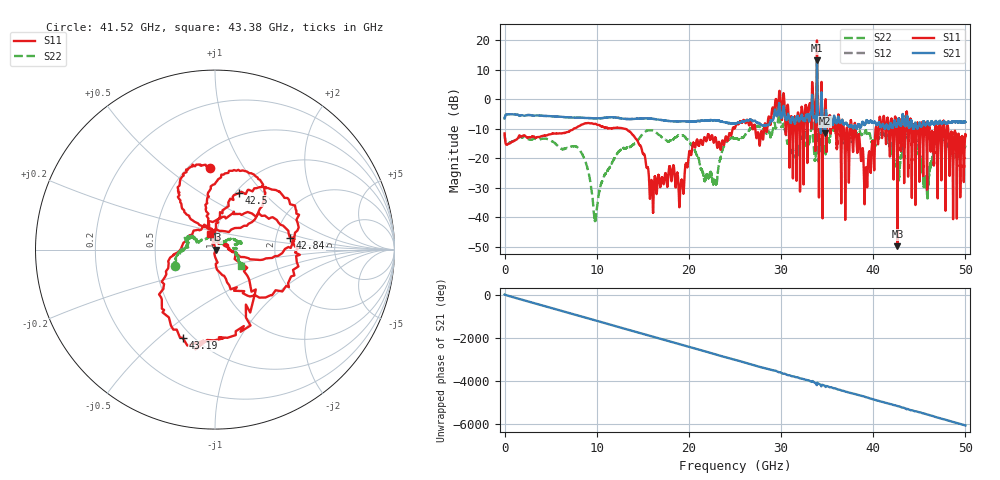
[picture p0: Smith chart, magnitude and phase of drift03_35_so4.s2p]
!Created with skrf (http://scikit-rf.org).
# Hz S RI R 50.0
!freq ReS11 ImS11 ReS21 ImS21 ReS12 ImS12 ReS22 ImS22
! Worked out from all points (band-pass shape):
!   10001 points, 300 kHz to 50 GHz, reference 50 ohm
!   highest |S21| = 13.30 dB at 33.9 GHz (marker M1); lowest = -11.5 dB at 34.79 GHz (marker M2)
!   |S21| within 3 dB of the highest: 33.89018 GHz to 33.90575 GHz (15.57 MHz wide, 0.0459 % of centre)
!   lowest |S11| = -49.8 dB at 42.63 GHz (marker M3), VSWR 1.01, Z = 50.3 - j0.11 ohm
!   |S11| at or under -10 dB: start of sweep to 7.491 GHz; 13.14 GHz to 24.74 GHz (11.6 GHz wide, 61.3 % of centre); 38.09 GHz to 40.25 GHz (2.163 GHz wide, 5.52 % of centre) (the widest 3 of 48)
!   |S22| runs from -41.3 to 5.7 dB; largest |S21 - S12| = 0.36
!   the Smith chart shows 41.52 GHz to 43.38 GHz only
!   S11 on the Smith chart (normalised r, x): 41.52 GHz: 0.63, +0.72; 42.5 GHz: 1.04, +0.74; 42.84 GHz: 2.39, +0.39; 43.19 GHz: 0.44, -0.60; 43.38 GHz: 0.93, +0.17
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300000  -0.2369 -0.1193  0.4667 0.0791  0.4649 0.0796  -0.2346 -0.1231
1.440291e9  0.21 0.0648  -0.5476 -0.0294  -0.548 -0.0293  0.2115 -0.00413
2.915283e9  -0.2121 -0.088  0.5343 0.0518  0.5347 0.0516  -0.2023 0.04
4.415274e9  0.2062 0.1325  -0.5219 -0.0424  -0.5219 -0.0423  0.1983 -0.0871
8.33525e9  0.2887 -0.2333  0.1461 0.4659  0.1463 0.4664  -0.0729 -0.1011
9.845241e9  -0.3639 0.1289  -0.1481 -0.4527  -0.1481 -0.4524  0.00863 0.00249
1.66702e10  0.0266 0.044  -0.378 0.2537  -0.3792 0.2531  -0.1274 -0.2198
2.500015e10  -0.3264 -0.0151  -0.2551 -0.2974  -0.2533 -0.2987  -0.2114 0.0262
2.895513e10  -0.3254 0.431  -0.2891 0.3252  -0.2987 0.29  0.0649 0.2214
3.006512e10  0.4012 0.2658  0.4511 -0.1961  0.4532 -0.1828  0.1754 -0.2974
3.171011e10  -0.0898 0.1831  -0.3637 0.3567  -0.3606 0.353  0.064 0.1583
3.33351e10  0.5965 -0.8133  0.2431 -0.8326  0.2452 -0.8123  -0.186 -0.4148
3.38951e10  -3.069 -9.513  -4.505 1.052  -4.192 1.23  0.6059 1.835
3.478509e10  -0.7067 0.1303  -0.0154 0.2664  -0.0038 0.3258  0.106 -0.1378
4.151505e10  -0.0261 0.454  0.3338 0.1242  0.3399 0.1262  -0.2255 -0.094
4.167005e10  -0.1981 0.3033  0.3142 0.00558  0.3146 0.0122  -0.1964 -0.0104
4.249505e10  0.1356 0.3151  -0.00247 -0.3461  0.00193 -0.3468  -0.0303 0.0696
4.263004e10  0.00304 -0.00109  -0.1678 -0.3415  -0.1631 -0.3451  -0.0225 0.0897
4.284004e10  0.4178 0.0666  -0.2534 -0.3228  -0.2583 -0.3218  0.044 0.0379
4.318504e10  -0.1792 -0.4925  -0.5271 0.0779  -0.5312 0.0725  0.1329 0.0429
4.337504e10  -0.0266 0.0878  -0.3522 0.1528  -0.3544 0.1498  0.1458 -0.0933
5e10  -0.1253 -0.2188  0.1432 0.3869  0.1423 0.384  -0.0528 -0.1444
